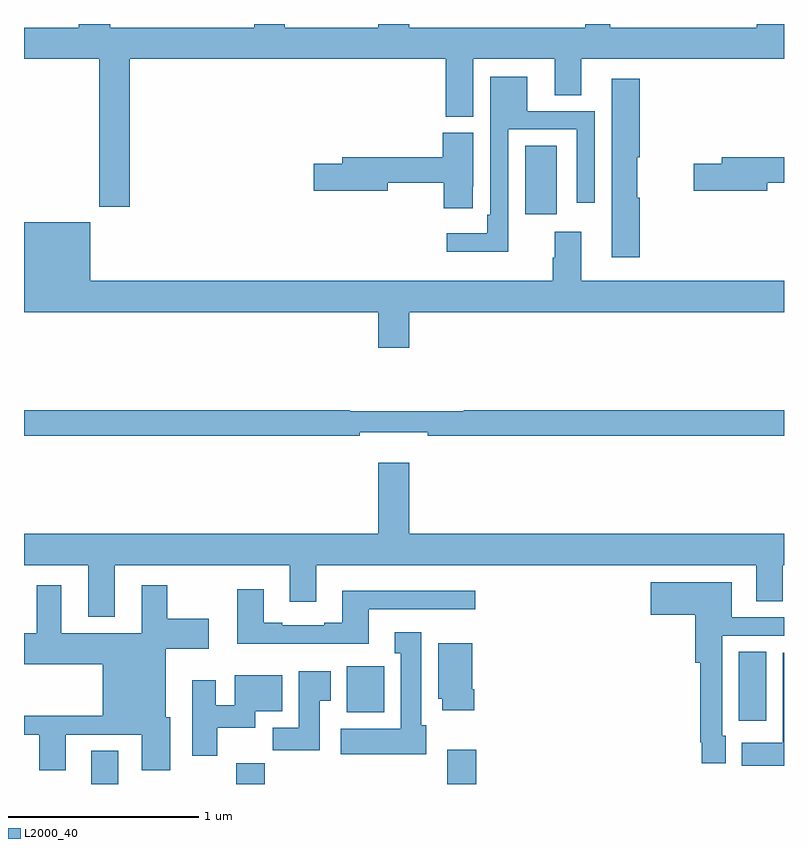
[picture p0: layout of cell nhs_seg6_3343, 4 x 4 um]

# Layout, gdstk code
import gdstk
lib = gdstk.Library(unit=1e-6, precision=1e-09)
def R(c, l, rs):  # rectangles x0, y0, x1, y1
    for r in rs: c.add(gdstk.rectangle(r[:2], r[2:], *l))
def P(c, l, *ps):  # polygons
    for p in ps: c.add(gdstk.Polygon(p, *l))
L2000_40 = (2000, 40)

nhs_seg6_3343 = lib.new_cell('nhs_seg6_3343')
R(nhs_seg6_3343, L2000_40, [(307.355,963.5,307.495,963.674), (308.116,963.5,308.267,963.608), (309.227,963.5,309.38,963.679), (310.763,963.834,310.906,964.196), (308.699,963.878,308.896,964.12), (309.638,966.498,309.805,966.86)])
P(nhs_seg6_3343, L2000_40, [(307.556,967.316),(309.221,967.316),(309.221,967.012),(309.364,967.012),(309.364,967.316),(309.794,967.316),(309.794,967.126),(309.934,967.126),(309.934,967.316),(311,967.316),(311,967.5),(310.856,967.5),(310.856,967.48),(310.085,967.48),(310.085,967.5),(309.955,967.5),(309.955,967.48),(309.028,967.48),(309.028,967.5),(308.864,967.5),(308.864,967.48),(308.373,967.48),(308.373,967.5),(308.213,967.5),(308.213,967.48),(307.454,967.48),(307.454,967.5),(307.289,967.5),(307.289,967.48),(307,967.48),(307,967.316),(307.396,967.316),(307.396,966.537),(307.556,966.537)],
  [(309.549,966.945),(309.909,966.945),(309.909,966.558),(310.005,966.558),(310.005,967.041),(309.649,967.041),(309.649,967.222),(309.453,967.222),(309.453,966.496),(309.437,966.496),(309.437,966.4),(309.225,966.4),(309.225,966.302),(309.549,966.302)],
  [(310.241,966.585),(310.228,966.585),(310.228,966.8),(310.241,966.8),(310.241,967.213),(310.094,967.213),(310.094,966.273),(310.241,966.273)],
  [(309.363,966.643),(309.364,966.643),(309.364,966.927),(309.203,966.927),(309.203,966.8),(308.675,966.8),(308.675,966.764),(308.526,966.764),(308.526,966.622),(308.914,966.622),(308.914,966.664),(309.208,966.664),(309.208,966.531),(309.363,966.531)],
  [(310.912,966.664),(311,966.664),(311,966.8),(310.673,966.8),(310.673,966.764),(310.524,966.764),(310.524,966.622),(310.912,966.622)],
  [(309.028,965.984),(311,965.984),(311,966.148),(309.934,966.148),(309.934,966.406),(309.794,966.406),(309.794,966.269),(309.782,966.269),(309.782,966.148),(307.348,966.148),(307.348,966.457),(307,966.457),(307,965.984),(308.864,965.984),(308.864,965.796),(309.028,965.796)],
  [(308.768,965.351),(309.124,965.351),(309.124,965.332),(311,965.332),(311,965.468),(309.314,965.468),(309.314,965.461),(308.714,965.461),(308.714,965.468),(307,965.468),(307,965.332),(308.768,965.332)],
  [(308.864,965.191),(308.864,964.816),(307,964.816),(307,964.652),(307.337,964.652),(307.337,964.379),(307.477,964.379),(307.477,964.652),(308.399,964.652),(308.399,964.458),(308.539,964.458),(308.539,964.652),(310.853,964.652),(310.853,964.462),(310.993,964.462),(310.993,964.652),(311,964.652),(311,964.816),(309.028,964.816),(309.028,965.191)],
  [(310.693,963.753),(310.674,963.753),(310.674,964.281),(311,964.281),(311,964.377),(310.726,964.377),(310.726,964.561),(310.299,964.561),(310.299,964.391),(310.532,964.391),(310.532,964.139),(310.558,964.139),(310.558,963.721),(310.566,963.721),(310.566,963.609),(310.693,963.609)],
  [(307.219,963.759),(307.619,963.759),(307.619,963.573),(307.771,963.573),(307.771,963.852),(307.747,963.852),(307.747,964.211),(307.972,964.211),(307.972,964.369),(307.755,964.369),(307.755,964.546),(307.619,964.546),(307.619,964.294),(307.195,964.294),(307.195,964.546),(307.067,964.546),(307.067,964.294),(307,964.294),(307,964.13),(307.415,964.13),(307.415,963.86),(307,963.86),(307,963.759),(307.079,963.759),(307.079,963.573),(307.219,963.573)],
  [(308.815,964.419),(309.376,964.419),(309.376,964.516),(308.675,964.516),(308.675,964.348),(308.579,964.348),(308.579,964.335),(308.359,964.335),(308.359,964.348),(308.263,964.348),(308.263,964.525),(308.123,964.525),(308.123,964.238),(308.815,964.238)],
  [(309.118,963.81),(309.091,963.81),(309.091,964.3),(308.951,964.3),(308.951,964.187),(308.984,964.187),(308.984,963.79),(308.667,963.79),(308.667,963.656),(309.118,963.656)],
  [(309.371,964),(309.358,964),(309.358,964.24),(309.179,964.24),(309.179,963.948),(309.2,963.948),(309.2,963.888),(309.371,963.888)],
  [(311,964.192),(310.994,964.192),(310.994,963.718),(310.778,963.718),(310.778,963.596),(311,963.596)],
  [(308.557,963.937),(308.614,963.937),(308.614,964.093),(308.447,964.093),(308.447,963.796),(308.308,963.796),(308.308,963.678),(308.557,963.678)],
  [(308.016,963.797),(308.218,963.797),(308.218,963.884),(308.359,963.884),(308.359,964.072),(308.108,964.072),(308.108,963.915),(308.008,963.915),(308.008,964.045),(307.886,964.045),(307.886,963.648),(308.016,963.648)])

lib.write_gds('nhs_seg6_3343.gds')
